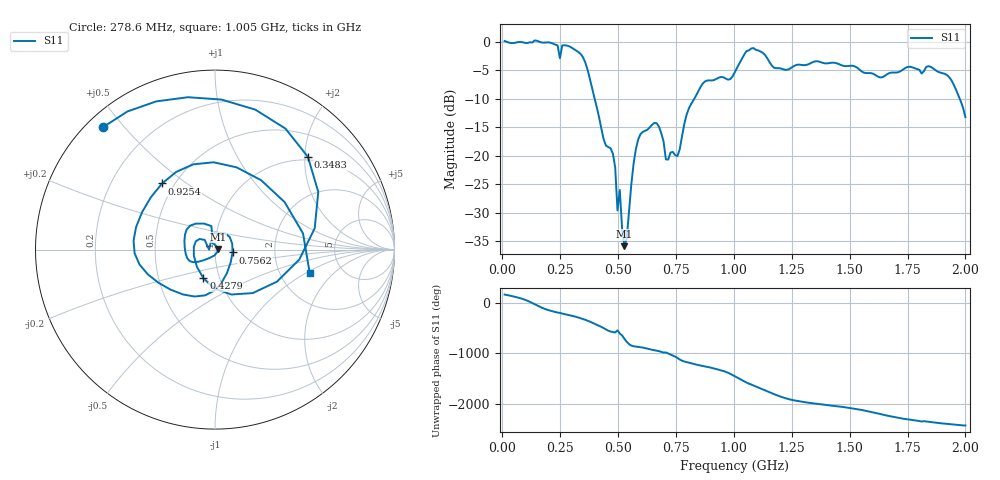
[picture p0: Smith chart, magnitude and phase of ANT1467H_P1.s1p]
!Created with skrf (http://scikit-rf.org).
# Hz S RI R 50.0
!freq ReS11 ImS11
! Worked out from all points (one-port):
!   201 points, 10 MHz to 2 GHz, reference 50 ohm
!   lowest |S11| = -35.9 dB at 527.4 MHz (marker M1), VSWR 1.03, Z = 51.6 + j0.336 ohm
!   |S11| at or under -10 dB: 398.8 MHz to 829.4 MHz (430.6 MHz wide, 70.1 % of centre); 1.976 GHz to end of sweep
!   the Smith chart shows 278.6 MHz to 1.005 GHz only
!   S11 on the Smith chart (normalised r, x): 278.6 MHz: 0.05, +0.44; 348.3 MHz: 0.93, +2.07; 427.9 MHz: 0.84, -0.28; 756.2 MHz: 1.22, -0.04; 925.4 MHz: 0.43, +0.41; 1.005 GHz: 2.94, -1.08
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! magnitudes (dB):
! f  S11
! 10 MHz  0.1
! 209 MHz  -0.2
! 248.8 MHz  -2.9
! 258.8 MHz  -0.7
! 278.6 MHz  -0.7
! 348.3 MHz  -2.7
! 427.9 MHz  -15.3
! 477.6 MHz  -19.6
! 487.6 MHz  -22.1
! 497.6 MHz  -29.6
! 507.5 MHz  -26.0
! 527.4 MHz  -35.9
! 537.4 MHz  -34.6
! 567.2 MHz  -21.4
! 597 MHz  -16.2
! 666.7 MHz  -14.3
! 706.5 MHz  -20.6
! 756.2 MHz  -20.1
! 806 MHz  -11.7
! 925.4 MHz  -6.5
! 1.005 GHz  -5.3
! 1.085 GHz  -1.1
! 1.254 GHz  -4.4
! 1.502 GHz  -4.2
! 1.632 GHz  -6.3
! 1.751 GHz  -4.4
! 1.92 GHz  -5.9
! 2 GHz  -13.2
